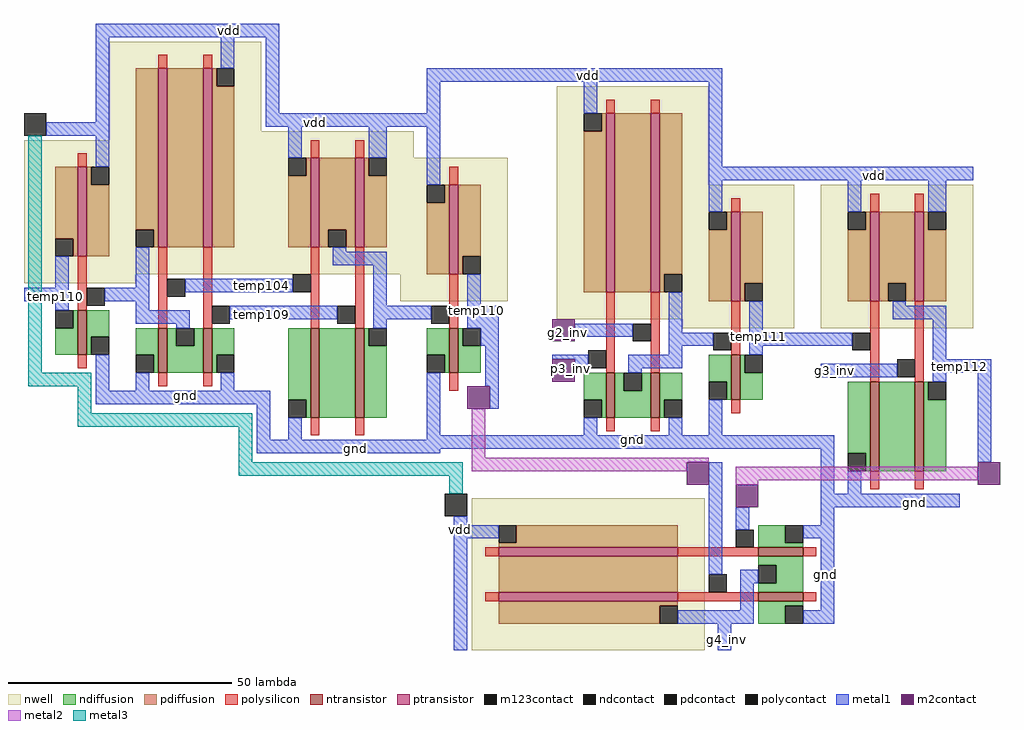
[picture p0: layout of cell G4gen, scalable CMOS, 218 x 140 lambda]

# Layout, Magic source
magic
tech scmos
<< nwell >>
rect -118 70 -84 90
rect -118 68 -50 70
rect -137 64 -50 68
rect -137 38 -29 64
rect -137 36 -112 38
rect -53 32 -29 38
rect -18 58 16 80
rect -18 28 35 58
rect 10 26 35 28
rect 41 26 75 58
rect -37 -46 15 -12
<< ntransistor >>
rect -125 20 -123 30
rect -107 16 -105 26
rect -97 16 -95 26
rect -73 6 -71 26
rect -63 6 -61 26
rect -42 16 -40 26
rect -7 6 -5 16
rect 3 6 5 16
rect 21 10 23 20
rect 52 -6 54 14
rect 62 -6 64 14
rect 27 -25 37 -23
rect 27 -35 37 -33
<< ptransistor >>
rect -125 42 -123 62
rect -107 44 -105 84
rect -97 44 -95 84
rect -73 44 -71 64
rect -63 44 -61 64
rect -42 38 -40 58
rect -7 34 -5 74
rect 3 34 5 74
rect 21 32 23 52
rect 52 32 54 52
rect 62 32 64 52
rect -31 -25 9 -23
rect -31 -35 9 -33
<< ndiffusion >>
rect -126 26 -125 30
rect -130 20 -125 26
rect -123 24 -118 30
rect -123 20 -122 24
rect -112 20 -107 26
rect -108 16 -107 20
rect -105 22 -103 26
rect -99 22 -97 26
rect -105 16 -97 22
rect -95 20 -90 26
rect -95 16 -94 20
rect -78 10 -73 26
rect -74 6 -73 10
rect -71 6 -63 26
rect -61 22 -60 26
rect -61 6 -56 22
rect -47 20 -42 26
rect -43 16 -42 20
rect -40 22 -39 26
rect -40 16 -35 22
rect -12 10 -7 16
rect -8 6 -7 10
rect -5 12 -3 16
rect 1 12 3 16
rect -5 6 3 12
rect 5 10 10 16
rect 16 14 21 20
rect 20 10 21 14
rect 23 16 24 20
rect 23 10 28 16
rect 5 6 6 10
rect 47 -2 52 14
rect 51 -6 52 -2
rect 54 -6 62 14
rect 64 10 65 14
rect 64 -6 69 10
rect 27 -22 33 -18
rect 27 -23 37 -22
rect 27 -27 37 -25
rect 31 -31 37 -27
rect 27 -33 37 -31
rect 27 -36 37 -35
rect 27 -40 33 -36
<< pdiffusion >>
rect -130 46 -125 62
rect -126 42 -125 46
rect -123 58 -122 62
rect -123 42 -118 58
rect -112 48 -107 84
rect -108 44 -107 48
rect -105 44 -97 84
rect -95 80 -94 84
rect -95 44 -90 80
rect -8 70 -7 74
rect -74 60 -73 64
rect -78 44 -73 60
rect -71 48 -63 64
rect -71 44 -69 48
rect -65 44 -63 48
rect -61 60 -60 64
rect -61 44 -56 60
rect -43 54 -42 58
rect -47 38 -42 54
rect -40 42 -35 58
rect -40 38 -39 42
rect -12 34 -7 70
rect -5 34 3 74
rect 5 38 10 74
rect 5 34 6 38
rect 20 48 21 52
rect 16 32 21 48
rect 23 36 28 52
rect 23 32 24 36
rect 51 48 52 52
rect 47 32 52 48
rect 54 36 62 52
rect 54 32 56 36
rect 60 32 62 36
rect 64 48 65 52
rect 64 32 69 48
rect -27 -22 9 -18
rect -31 -23 9 -22
rect -31 -33 9 -25
rect -31 -36 9 -35
rect -31 -40 5 -36
<< ndcontact >>
rect -130 26 -126 30
rect -122 20 -118 24
rect -112 16 -108 20
rect -103 22 -99 26
rect -94 16 -90 20
rect -78 6 -74 10
rect -60 22 -56 26
rect -47 16 -43 20
rect -39 22 -35 26
rect -12 6 -8 10
rect -3 12 1 16
rect 16 10 20 14
rect 24 16 28 20
rect 6 6 10 10
rect 47 -6 51 -2
rect 65 10 69 14
rect 33 -22 37 -18
rect 27 -31 31 -27
rect 33 -40 37 -36
<< pdcontact >>
rect -130 42 -126 46
rect -122 58 -118 62
rect -112 44 -108 48
rect -94 80 -90 84
rect -12 70 -8 74
rect -78 60 -74 64
rect -69 44 -65 48
rect -60 60 -56 64
rect -47 54 -43 58
rect -39 38 -35 42
rect 6 34 10 38
rect 16 48 20 52
rect 24 32 28 36
rect 47 48 51 52
rect 56 32 60 36
rect 65 48 69 52
rect -31 -22 -27 -18
rect 5 -40 9 -36
<< polysilicon >>
rect -107 84 -105 87
rect -97 84 -95 87
rect -125 62 -123 65
rect -7 74 -5 77
rect 3 74 5 77
rect -73 64 -71 68
rect -63 64 -61 68
rect -42 58 -40 62
rect -125 30 -123 42
rect -107 26 -105 44
rect -97 26 -95 44
rect -73 26 -71 44
rect -63 26 -61 44
rect -42 26 -40 38
rect 21 52 23 55
rect 52 52 54 56
rect 62 52 64 56
rect -125 17 -123 20
rect -107 13 -105 16
rect -97 13 -95 16
rect -7 16 -5 34
rect 3 16 5 34
rect 21 20 23 32
rect -42 12 -40 16
rect 52 14 54 32
rect 62 14 64 32
rect 21 7 23 10
rect -73 2 -71 6
rect -63 2 -61 6
rect -7 3 -5 6
rect 3 3 5 6
rect 52 -10 54 -6
rect 62 -10 64 -6
rect -34 -25 -31 -23
rect 9 -25 27 -23
rect 37 -25 40 -23
rect -34 -35 -31 -33
rect 9 -35 27 -33
rect 37 -35 40 -33
<< polycontact >>
rect -123 31 -119 35
rect -105 33 -101 37
rect -77 34 -73 38
rect -95 27 -91 31
rect -67 27 -63 31
rect -46 27 -42 31
rect -11 17 -7 21
rect -1 23 3 27
rect 17 21 21 25
rect 48 21 52 25
rect 58 15 62 19
rect 22 -23 26 -19
rect 16 -33 20 -29
<< metal1 >>
rect -121 91 -80 94
rect -121 72 -118 91
rect -93 84 -90 91
rect -132 69 -118 72
rect -83 74 -80 91
rect -47 81 19 84
rect -47 74 -44 81
rect -83 71 -44 74
rect -121 62 -118 69
rect -78 64 -75 71
rect -60 64 -56 71
rect -47 58 -44 71
rect -12 74 -9 81
rect 16 62 19 81
rect 16 59 75 62
rect 16 52 19 59
rect 47 52 50 59
rect 65 52 69 59
rect -130 35 -127 42
rect -112 35 -109 44
rect -68 43 -65 44
rect -68 40 -56 43
rect -137 32 -127 35
rect -130 30 -127 32
rect -119 32 -109 35
rect -101 34 -77 37
rect -112 30 -109 32
rect -59 31 -56 40
rect -38 31 -35 38
rect -112 27 -100 30
rect -91 28 -67 31
rect -59 28 -46 31
rect -103 26 -100 27
rect -59 26 -56 28
rect -38 26 -31 31
rect -35 22 -31 26
rect -14 24 -1 27
rect 7 25 10 34
rect 25 25 28 32
rect 57 31 60 32
rect 57 28 69 31
rect -121 12 -118 20
rect -112 12 -109 16
rect -93 12 -90 16
rect -121 9 -82 12
rect -85 1 -82 9
rect -78 1 -75 6
rect -47 2 -44 16
rect -34 13 -31 22
rect 7 22 17 25
rect -19 19 -11 20
rect -14 17 -11 19
rect 7 20 10 22
rect 25 22 48 25
rect 25 20 28 22
rect -2 17 10 20
rect -2 16 1 17
rect 66 19 69 28
rect -33 8 -31 13
rect 41 15 58 18
rect 66 16 79 19
rect 66 14 69 16
rect -12 2 -9 6
rect 7 2 10 6
rect 16 2 19 10
rect -47 1 44 2
rect -85 -1 44 1
rect -85 -2 -44 -1
rect -41 -18 -38 -16
rect -41 -21 -31 -18
rect -41 -46 -38 -21
rect 16 -29 19 -4
rect 41 -11 44 -1
rect 76 -4 79 16
rect 47 -11 50 -6
rect 41 -14 72 -11
rect 22 -19 25 -14
rect 41 -18 44 -14
rect 37 -21 44 -18
rect 23 -31 27 -28
rect 23 -37 26 -31
rect 9 -40 26 -37
rect 41 -37 44 -21
rect 37 -40 44 -37
rect 18 -46 21 -40
<< m2contact >>
rect -19 23 -14 28
rect -19 14 -14 19
rect -38 8 -33 13
rect 11 -9 16 -4
rect 22 -14 27 -9
rect 76 -9 81 -4
<< metal2 >>
rect -37 -3 -34 8
rect -37 -4 16 -3
rect -37 -6 11 -4
rect 22 -8 76 -5
rect 22 -9 27 -8
<< m123contact >>
rect -137 69 -132 74
rect -43 -16 -38 -11
<< metal3 >>
rect -136 16 -133 69
rect -136 13 -122 16
rect -125 7 -122 13
rect -125 4 -86 7
rect -89 -4 -86 4
rect -89 -7 -39 -4
rect -42 -11 -39 -7
<< labels >>
rlabel metal1 -72 72 -72 72 5 vdd
rlabel metal1 -63 -1 -63 -1 1 gnd
rlabel metal1 -36 29 -36 31 1 temp110
rlabel metal1 -101 11 -101 11 1 gnd
rlabel metal1 -91 92 -91 93 5 vdd
rlabel metal1 -84 29 -84 29 1 temp109
rlabel metal1 -90 34 -78 37 1 temp104
rlabel metal1 -130 33 -130 33 1 temp110
rlabel metal1 -11 82 -11 83 5 vdd
rlabel metal1 -1 1 -1 1 1 gnd
rlabel metal1 26 23 28 25 1 temp111
rlabel m2contact -17 24 -14 26 1 g2_inv
rlabel m2contact -15 17 -15 17 1 p3_inv
rlabel metal1 53 60 53 60 5 vdd
rlabel metal1 62 -13 62 -13 1 gnd
rlabel metal1 43 15 45 18 1 g3_inv
rlabel metal1 69 16 75 19 7 temp112
rlabel metal1 -40 -19 -39 -19 3 vdd
rlabel metal1 42 -29 42 -29 7 gnd
rlabel metal1 19 -45 21 -42 1 g4_inv
<< end >>
